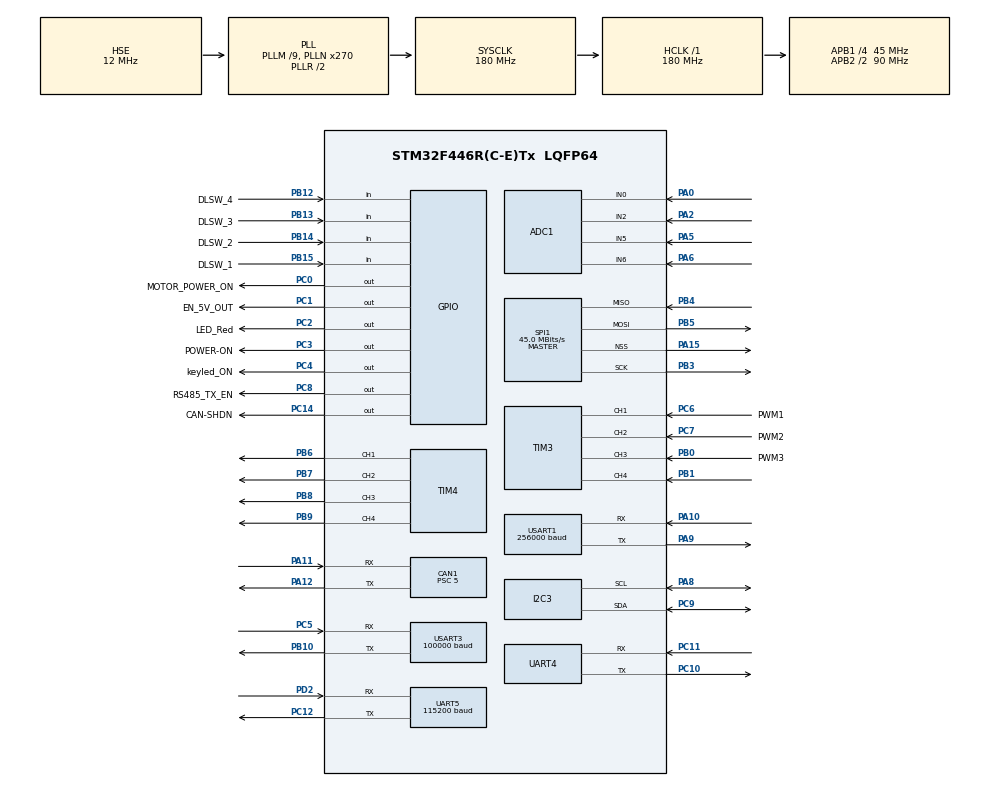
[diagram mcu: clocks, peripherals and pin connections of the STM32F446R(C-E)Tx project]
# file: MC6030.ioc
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ADC1.Channel-0\#ChannelRegularConversion=ADC_CHANNEL_2
ADC1.Channel-1\#ChannelRegularConversion=ADC_CHANNEL_5
ADC1.Channel-2\#ChannelRegularConversion=ADC_CHANNEL_6
ADC1.Channel-3\#ChannelRegularConversion=ADC_CHANNEL_0
ADC1.ContinuousConvMode=ENABLE
ADC1.DMAContinuousRequests=ENABLE
ADC1.NbrOfConversion=4
ADC1.NbrOfConversionFlag=1
ADC1.Rank-0\#ChannelRegularConversion=1
ADC1.Rank-1\#ChannelRegularConversion=2
ADC1.Rank-2\#ChannelRegularConversion=3
ADC1.Rank-3\#ChannelRegularConversion=4
ADC1.SamplingTime-0\#ChannelRegularConversion=ADC_SAMPLETIME_3CYCLES
ADC1.SamplingTime-1\#ChannelRegularConversion=ADC_SAMPLETIME_3CYCLES
ADC1.SamplingTime-2\#ChannelRegularConversion=ADC_SAMPLETIME_3CYCLES
ADC1.SamplingTime-3\#ChannelRegularConversion=ADC_SAMPLETIME_3CYCLES
ADC1.ScanConvMode=ENABLE
ADC1.master=1
CAN1.BS1=CAN_BS1_6TQ
CAN1.BS2=CAN_BS2_2TQ
CAN1.CalculateTimeQuantum=111.11111111111111
CAN1.Prescaler=5
CAN1.SJW=CAN_SJW_1TQ
Dma.ADC1.0.Direction=DMA_PERIPH_TO_MEMORY
Dma.ADC1.0.FIFOMode=DMA_FIFOMODE_DISABLE
Dma.ADC1.0.Instance=DMA2_Stream0
Dma.ADC1.0.MemDataAlignment=DMA_MDATAALIGN_WORD
Dma.ADC1.0.MemInc=DMA_MINC_ENABLE
Dma.ADC1.0.Mode=DMA_CIRCULAR
Dma.ADC1.0.PeriphDataAlignment=DMA_PDATAALIGN_WORD
Dma.ADC1.0.PeriphInc=DMA_PINC_DISABLE
Dma.ADC1.0.Priority=DMA_PRIORITY_LOW
Dma.Request0=ADC1
Dma.Request1=USART3_RX
Dma.USART3_RX.1.Direction=DMA_PERIPH_TO_MEMORY
Dma.USART3_RX.1.FIFOMode=DMA_FIFOMODE_DISABLE
Dma.USART3_RX.1.Instance=DMA1_Stream1
Dma.USART3_RX.1.MemDataAlignment=DMA_MDATAALIGN_BYTE
Dma.USART3_RX.1.MemInc=DMA_MINC_ENABLE
Dma.USART3_RX.1.Mode=DMA_CIRCULAR
Dma.USART3_RX.1.PeriphDataAlignment=DMA_PDATAALIGN_BYTE
Dma.USART3_RX.1.PeriphInc=DMA_PINC_DISABLE
Dma.USART3_RX.1.Priority=DMA_PRIORITY_LOW
I2C3.I2C_Mode=I2C_Standard
Mcu.Family=STM32F4
Mcu.Name=STM32F446R(C-E)Tx
Mcu.Package=LQFP64
NVIC.DMA1_Stream1_IRQn=true\:3\:0\:true\:false\:true\:false\:true
NVIC.DMA2_Stream0_IRQn=true\:2\:0\:true\:false\:true\:false\:true
NVIC.PriorityGroup=NVIC_PRIORITYGROUP_4
NVIC.TIM8_TRG_COM_TIM14_IRQn=true\:0\:0\:true\:false\:true\:true\:true
NVIC.USART3_IRQn=true\:0\:0\:false\:false\:true\:true\:true
PA0-WKUP.Signal=ADCx_IN0
PA10.Mode=Asynchronous
PA10.Signal=USART1_RX
PA11.Mode=Master
PA11.Signal=CAN1_RX
PA12.Mode=Master
PA12.Signal=CAN1_TX
PA15.Mode=NSS_Signal_Hard_Output
PA15.Signal=SPI1_NSS
PA2.Signal=ADCx_IN2
PA5.Signal=ADCx_IN5
PA6.Signal=ADCx_IN6
PA8.Mode=I2C
PA8.Signal=I2C3_SCL
PA9.Mode=Asynchronous
PA9.Signal=USART1_TX
PB0.GPIO_Label=PWM3
PB0.GPIO_PuPd=GPIO_PULLUP
PB0.Signal=S_TIM3_CH3
PB1.GPIO_PuPd=GPIO_PULLUP
PB1.Signal=S_TIM3_CH4
PB10.Mode=Asynchronous
PB10.Signal=USART3_TX
PB12.GPIO_Label=DLSW_4
PB12.GPIO_PuPd=GPIO_PULLUP
PB12.Signal=GPIO_Input
PB13.GPIO_Label=DLSW_3
PB13.GPIO_PuPd=GPIO_PULLUP
PB13.Signal=GPIO_Input
PB14.GPIO_Label=DLSW_2
PB14.GPIO_PuPd=GPIO_PULLUP
PB14.Signal=GPIO_Input
PB15.GPIO_Label=DLSW_1
PB15.GPIO_PuPd=GPIO_PULLUP
PB15.Signal=GPIO_Input
PB3.Mode=Full_Duplex_Master
PB3.Signal=SPI1_SCK
PB4.Mode=Full_Duplex_Master
PB4.Signal=SPI1_MISO
PB5.Mode=Full_Duplex_Master
PB5.Signal=SPI1_MOSI
PB6.Signal=S_TIM4_CH1
PB7.Signal=S_TIM4_CH2
PB8.Signal=S_TIM4_CH3
PB9.Signal=S_TIM4_CH4
PC0.GPIO_Label=MOTOR_POWER_ON
PC0.PinState=GPIO_PIN_SET
PC0.Signal=GPIO_Output
PC1.GPIO_Label=EN_5V_OUT
PC1.PinState=GPIO_PIN_SET
PC1.Signal=GPIO_Output
PC10.Mode=Asynchronous
PC10.Signal=UART4_TX
PC11.Mode=Asynchronous
PC11.Signal=UART4_RX
PC12.Mode=Asynchronous
PC12.Signal=UART5_TX
PC14-OSC32_IN.GPIO_Label=CAN-SHDN
PC14-OSC32_IN.Signal=GPIO_Output
PC2.GPIO_Label=LED_Red
PC2.PinState=GPIO_PIN_SET
PC2.Signal=GPIO_Output
PC3.GPIO_Label=POWER-ON
PC3.Signal=GPIO_Output
PC4.GPIO_Label=keyled_ON
PC4.Signal=GPIO_Output
PC5.Mode=Asynchronous
PC5.Signal=USART3_RX
PC6.GPIO_Label=PWM1
PC6.GPIO_PuPd=GPIO_PULLUP
PC6.Signal=S_TIM3_CH1
PC7.GPIO_Label=PWM2
PC7.GPIO_PuPd=GPIO_PULLUP
PC7.Signal=S_TIM3_CH2
PC8.GPIO_Label=RS485_TX_EN
PC8.GPIO_PuPd=GPIO_PULLDOWN
PC8.Signal=GPIO_Output
PC9.Mode=I2C
PC9.Signal=I2C3_SDA
PD2.Mode=Asynchronous
PD2.Signal=UART5_RX
PH0-OSC_IN.Mode=HSE-External-Oscillator
PH0-OSC_IN.Signal=RCC_OSC_IN
PH1-OSC_OUT.Mode=HSE-External-Oscillator
PH1-OSC_OUT.Signal=RCC_OSC_OUT
ProjectManager.HeapSize=0x200
ProjectManager.StackSize=0x400
ProjectManager.TargetToolchain=EWARM V8.32
RCC.AHBFreq_Value=180000000
RCC.APB1CLKDivider=RCC_HCLK_DIV4
RCC.APB1Freq_Value=45000000
RCC.APB1TimFreq_Value=90000000
RCC.APB2CLKDivider=RCC_HCLK_DIV2
RCC.APB2Freq_Value=90000000
RCC.APB2TimFreq_Value=180000000
RCC.CortexFreq_Value=180000000
RCC.HCLKFreq_Value=180000000
RCC.HSE_VALUE=12000000
RCC.PLLM=9
RCC.PLLN=270
RCC.PLLP=RCC_PLLP_DIV4
RCC.PLLSourceVirtual=RCC_PLLSOURCE_HSE
RCC.SYSCLKFreq_VALUE=180000000
RCC.SYSCLKSource=RCC_SYSCLKSOURCE_PLLRCLK
RCC.USBFreq_Value=180000000
RCC.VCOOutputFreq_Value=360000000
SH.ADCx_IN0.0=ADC1_IN0,IN0
SH.ADCx_IN2.0=ADC1_IN2,IN2
SH.ADCx_IN5.0=ADC1_IN5,IN5
SH.ADCx_IN6.0=ADC1_IN6,IN6
SH.S_TIM3_CH1.0=TIM3_CH1,Input_Capture1_from_TI1
SH.S_TIM3_CH2.0=TIM3_CH2,Input_Capture2_from_TI2
SH.S_TIM3_CH3.0=TIM3_CH3,Input_Capture3_from_TI3
SH.S_TIM3_CH4.0=TIM3_CH4,Input_Capture4_from_TI4
SH.S_TIM4_CH1.0=TIM4_CH1,PWM Generation1 CH1
SH.S_TIM4_CH2.0=TIM4_CH2,PWM Generation2 CH2
SH.S_TIM4_CH3.0=TIM4_CH3,PWM Generation3 CH3
SH.S_TIM4_CH4.0=TIM4_CH4,PWM Generation4 CH4
SPI1.BaudRatePrescaler=SPI_BAUDRATEPRESCALER_2
SPI1.CalculateBaudRate=45.0 MBits/s
SPI1.Direction=SPI_DIRECTION_2LINES
SPI1.Mode=SPI_MODE_MASTER
SPI1.TIMode=SPI_TIMODE_DISABLE
SPI1.VirtualNSS=VM_NSSHARD
SPI1.VirtualType=VM_MASTER
TIM14.Period=1000
TIM14.Prescaler=90
TIM3.Channel-Input_Capture1_from_TI1=TIM_CHANNEL_1
TIM3.Channel-Input_Capture2_from_TI2=TIM_CHANNEL_2
TIM3.Channel-Input_Capture3_from_TI3=TIM_CHANNEL_3
TIM3.Channel-Input_Capture4_from_TI4=TIM_CHANNEL_4
TIM4.Channel-PWM\ Generation1\ CH1=TIM_CHANNEL_1
TIM4.Channel-PWM\ Generation2\ CH2=TIM_CHANNEL_2
TIM4.Channel-PWM\ Generation3\ CH3=TIM_CHANNEL_3
TIM4.Channel-PWM\ Generation4\ CH4=TIM_CHANNEL_4
UART4.VirtualMode=Asynchronous
UART5.BaudRate=115200
UART5.VirtualMode=Asynchronous
USART1.BaudRate=256000
USART1.VirtualMode=VM_ASYNC
USART3.BaudRate=100000
USART3.Mode=MODE_RX
USART3.Parity=PARITY_EVEN
USART3.StopBits=STOPBITS_2
USART3.VirtualMode=VM_ASYNC
USART3.WordLength=WORDLENGTH_9B
VP_TIM14_VS_ClockSourceINT.Mode=Enable_Timer
board=custom

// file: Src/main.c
/* USER CODE BEGIN Header */
/**
  ******************************************************************************
  * @file           : main.c
  * @brief          : Main program body
  ******************************************************************************
  * @attention
  *
  * <h2><center>&copy; Copyright (c) 2020 STMicroelectronics.
  * All rights reserved.</center></h2>
  *
  * This software component is licensed by ST under BSD 3-Clause license,
  * the "License"; You may not use this file except in compliance with the
  * License. You may obtain a copy of the License at:
  *                        opensource.org/licenses/BSD-3-Clause
  *
  ******************************************************************************
  */
/* USER CODE END Header */

#include "main.h"

ADC_HandleTypeDef hadc1;
DMA_HandleTypeDef hdma_adc1;

CAN_HandleTypeDef hcan1;

I2C_HandleTypeDef hi2c3;

SPI_HandleTypeDef hspi1;

TIM_HandleTypeDef htim3;
TIM_HandleTypeDef htim4;
TIM_HandleTypeDef htim14;

UART_HandleTypeDef huart4;
UART_HandleTypeDef huart5;
UART_HandleTypeDef huart1;
UART_HandleTypeDef huart3;
DMA_HandleTypeDef hdma_usart3_rx;

/* USER CODE BEGIN PV */

uint8_t I2C3_ReceiveBuffer[2] = {0};
uint8_t I2C3_Reg_Id[1] = {0x75};

uint8_t I2C3_WriteBuffer[8] = {0};

uint8_t RX_Length = 20;

//uint8_t USART1MESSAGE[RX_Length] = {0};
uint8_t USART3MESSAGE[20] = {0};
uint8_t USART_COUNTER = 0;
uint8_t END_STA = 0;
uint8_t TempChar = 0;
uint8_t k=0;
uint8_t Uart3_receive_buf[50];
extern uint32_t tim_1ms_count;
extern uint8_t RX_databuf[26];
extern uint32_t ADC_Value[40];

/* USER CODE END PV */

void SystemClock_Config(void);
static void MX_GPIO_Init(void);
static void MX_DMA_Init(void);
static void MX_ADC1_Init(void);
static void MX_CAN1_Init(void);
static void MX_UART4_Init(void);
static void MX_USART1_UART_Init(void);
static void MX_UART5_Init(void);
static void MX_SPI1_Init(void);
static void MX_TIM3_Init(void);
static void MX_TIM4_Init(void);
static void MX_I2C3_Init(void);
static void MX_USART3_UART_Init(void);
static void MX_TIM14_Init(void);
/* USER CODE BEGIN PFP */
void ICM_20608_identity_verify(void);
/* USER CODE END PFP */

int main(void)
{

  /* MCU Configuration--------------------------------------------------------*/

  /* Reset of all peripherals, Initializes the Flash interface and the Systick. */
  HAL_Init();

  /* Configure the system clock */
  SystemClock_Config();

  /* Initialize all configured peripherals */
  MX_GPIO_Init();
  MX_DMA_Init();
  MX_ADC1_Init();
  MX_CAN1_Init();
  MX_UART4_Init();
  MX_USART1_UART_Init();
  MX_UART5_Init();
  MX_SPI1_Init();
  MX_TIM3_Init();
  MX_TIM4_Init();
  MX_I2C3_Init();
  MX_USART3_UART_Init();
  MX_TIM14_Init();
  /* USER CODE BEGIN 2 */

  HAL_ADC_Start_DMA(&hadc1, (uint32_t*)&ADC_Value, 40);

  HAL_CAN_Start(&hcan1);

  HAL_TIM_Base_MspInit(&htim14);
  HAL_TIM_Base_Start_IT(&htim14);

  HAL_UART_Receive_DMA(&huart3, Uart3_receive_buf, 25);
  HAL_Delay(2000);
  /* USER CODE END 2 */

  /* Infinite loop */
  while (1)
  {

    /* USER CODE BEGIN 3 */

    if(tim_1ms_count > 10)
    {
      tim_1ms_count=0;
      printf("\r\n***** This is a demo code powered by GYEMS ******\r\n\r\n");
      potentiometer_Control();
      printf("\r\n");

    }
    //printf("\r\n");
    //HAL_Delay(500);
  }
  /* USER CODE END 3 */
}

void SystemClock_Config(void)
{
  RCC_OscInitTypeDef RCC_OscInitStruct = {0};
  RCC_ClkInitTypeDef RCC_ClkInitStruct = {0};

  /** Configure the main internal regulator output voltage
  */
  __HAL_RCC_PWR_CLK_ENABLE();
  __HAL_PWR_VOLTAGESCALING_CONFIG(PWR_REGULATOR_VOLTAGE_SCALE1);
  /** Initializes the CPU, AHB and APB busses clocks
  */
  RCC_OscInitStruct.OscillatorType = RCC_OSCILLATORTYPE_HSE;
  RCC_OscInitStruct.HSEState = RCC_HSE_ON;
  RCC_OscInitStruct.PLL.PLLState = RCC_PLL_ON;
  RCC_OscInitStruct.PLL.PLLSource = RCC_PLLSOURCE_HSE;
  RCC_OscInitStruct.PLL.PLLM = 9;
  RCC_OscInitStruct.PLL.PLLN = 270;
  RCC_OscInitStruct.PLL.PLLP = RCC_PLLP_DIV4;
  RCC_OscInitStruct.PLL.PLLQ = 2;
  RCC_OscInitStruct.PLL.PLLR = 2;
  if (HAL_RCC_OscConfig(&RCC_OscInitStruct) != HAL_OK)
  {
    Error_Handler();
  }
  /** Activate the Over-Drive mode
  */
  if (HAL_PWREx_EnableOverDrive() != HAL_OK)
  {
    Error_Handler();
  }
  /** Initializes the CPU, AHB and APB busses clocks
  */
  RCC_ClkInitStruct.ClockType = RCC_CLOCKTYPE_HCLK|RCC_CLOCKTYPE_SYSCLK
                              |RCC_CLOCKTYPE_PCLK1|RCC_CLOCKTYPE_PCLK2;
  RCC_ClkInitStruct.SYSCLKSource = RCC_SYSCLKSOURCE_PLLRCLK;
  RCC_ClkInitStruct.AHBCLKDivider = RCC_SYSCLK_DIV1;
  RCC_ClkInitStruct.APB1CLKDivider = RCC_HCLK_DIV4;
  RCC_ClkInitStruct.APB2CLKDivider = RCC_HCLK_DIV2;

  if (HAL_RCC_ClockConfig(&RCC_ClkInitStruct, FLASH_LATENCY_5) != HAL_OK)
  {
    Error_Handler();
  }
}

static void MX_ADC1_Init(void)
{

  ADC_ChannelConfTypeDef sConfig = {0};

  /** Configure the global features of the ADC (Clock, Resolution, Data Alignment and number of conversion)
  */
  hadc1.Instance = ADC1;
  hadc1.Init.ClockPrescaler = ADC_CLOCK_SYNC_PCLK_DIV4;
  hadc1.Init.Resolution = ADC_RESOLUTION_12B;
  hadc1.Init.ScanConvMode = ENABLE;
  hadc1.Init.ContinuousConvMode = ENABLE;
  hadc1.Init.DiscontinuousConvMode = DISABLE;
  hadc1.Init.ExternalTrigConvEdge = ADC_EXTERNALTRIGCONVEDGE_NONE;
  hadc1.Init.ExternalTrigConv = ADC_SOFTWARE_START;
  hadc1.Init.DataAlign = ADC_DATAALIGN_RIGHT;
  hadc1.Init.NbrOfConversion = 4;
  hadc1.Init.DMAContinuousRequests = ENABLE;
  hadc1.Init.EOCSelection = ADC_EOC_SINGLE_CONV;
  if (HAL_ADC_Init(&hadc1) != HAL_OK)
  {
    Error_Handler();
  }
  /** Configure for the selected ADC regular channel its corresponding rank in the sequencer and its sample time.
  */
  sConfig.Channel = ADC_CHANNEL_2;
  sConfig.Rank = 1;
  sConfig.SamplingTime = ADC_SAMPLETIME_3CYCLES;
  if (HAL_ADC_ConfigChannel(&hadc1, &sConfig) != HAL_OK)
  {
    Error_Handler();
  }
  /** Configure for the selected ADC regular channel its corresponding rank in the sequencer and its sample time.
  */
  sConfig.Channel = ADC_CHANNEL_5;
  sConfig.Rank = 2;
  if (HAL_ADC_ConfigChannel(&hadc1, &sConfig) != HAL_OK)
  {
    Error_Handler();
  }
  /** Configure for the selected ADC regular channel its corresponding rank in the sequencer and its sample time.
  */
  sConfig.Channel = ADC_CHANNEL_6;
  sConfig.Rank = 3;
  if (HAL_ADC_ConfigChannel(&hadc1, &sConfig) != HAL_OK)
  {
    Error_Handler();
  }
  /** Configure for the selected ADC regular channel its corresponding rank in the sequencer and its sample time.
  */
  sConfig.Channel = ADC_CHANNEL_0;
  sConfig.Rank = 4;
  if (HAL_ADC_ConfigChannel(&hadc1, &sConfig) != HAL_OK)
  {
    Error_Handler();
  }

}

static void MX_CAN1_Init(void)
{

  hcan1.Instance = CAN1;
  hcan1.Init.Prescaler = 5;
  hcan1.Init.Mode = CAN_MODE_NORMAL;
  hcan1.Init.SyncJumpWidth = CAN_SJW_1TQ;
  hcan1.Init.TimeSeg1 = CAN_BS1_6TQ;
  hcan1.Init.TimeSeg2 = CAN_BS2_2TQ;
  hcan1.Init.TimeTriggeredMode = DISABLE;
  hcan1.Init.AutoBusOff = DISABLE;
  hcan1.Init.AutoWakeUp = DISABLE;
  hcan1.Init.AutoRetransmission = DISABLE;
  hcan1.Init.ReceiveFifoLocked = DISABLE;
  hcan1.Init.TransmitFifoPriority = DISABLE;
  if (HAL_CAN_Init(&hcan1) != HAL_OK)
  {
    Error_Handler();
  }

}

static void MX_I2C3_Init(void)
{

  hi2c3.Instance = I2C3;
  hi2c3.Init.ClockSpeed = 100000;
  hi2c3.Init.DutyCycle = I2C_DUTYCYCLE_2;
  hi2c3.Init.OwnAddress1 = 0;
  hi2c3.Init.AddressingMode = I2C_ADDRESSINGMODE_7BIT;
  hi2c3.Init.DualAddressMode = I2C_DUALADDRESS_DISABLE;
  hi2c3.Init.OwnAddress2 = 0;
  hi2c3.Init.GeneralCallMode = I2C_GENERALCALL_DISABLE;
  hi2c3.Init.NoStretchMode = I2C_NOSTRETCH_DISABLE;
  if (HAL_I2C_Init(&hi2c3) != HAL_OK)
  {
    Error_Handler();
  }

}

static void MX_SPI1_Init(void)
{

  /* SPI1 parameter configuration*/
  hspi1.Instance = SPI1;
  hspi1.Init.Mode = SPI_MODE_MASTER;
  hspi1.Init.Direction = SPI_DIRECTION_2LINES;
  hspi1.Init.DataSize = SPI_DATASIZE_8BIT;
  hspi1.Init.CLKPolarity = SPI_POLARITY_LOW;
  hspi1.Init.CLKPhase = SPI_PHASE_1EDGE;
  hspi1.Init.NSS = SPI_NSS_HARD_OUTPUT;
  hspi1.Init.BaudRatePrescaler = SPI_BAUDRATEPRESCALER_2;
  hspi1.Init.FirstBit = SPI_FIRSTBIT_MSB;
  hspi1.Init.TIMode = SPI_TIMODE_DISABLE;
  hspi1.Init.CRCCalculation = SPI_CRCCALCULATION_DISABLE;
  hspi1.Init.CRCPolynomial = 10;
  if (HAL_SPI_Init(&hspi1) != HAL_OK)
  {
    Error_Handler();
  }

}

static void MX_TIM3_Init(void)
{

  TIM_MasterConfigTypeDef sMasterConfig = {0};
  TIM_IC_InitTypeDef sConfigIC = {0};

  htim3.Instance = TIM3;
  htim3.Init.Prescaler = 0;
  htim3.Init.CounterMode = TIM_COUNTERMODE_UP;
  htim3.Init.Period = 0;
  htim3.Init.ClockDivision = TIM_CLOCKDIVISION_DIV1;
  htim3.Init.AutoReloadPreload = TIM_AUTORELOAD_PRELOAD_DISABLE;
  if (HAL_TIM_IC_Init(&htim3) != HAL_OK)
  {
    Error_Handler();
  }
  sMasterConfig.MasterOutputTrigger = TIM_TRGO_RESET;
  sMasterConfig.MasterSlaveMode = TIM_MASTERSLAVEMODE_DISABLE;
  if (HAL_TIMEx_MasterConfigSynchronization(&htim3, &sMasterConfig) != HAL_OK)
  {
    Error_Handler();
  }
  sConfigIC.ICPolarity = TIM_INPUTCHANNELPOLARITY_RISING;
  sConfigIC.ICSelection = TIM_ICSELECTION_DIRECTTI;
  sConfigIC.ICPrescaler = TIM_ICPSC_DIV1;
  sConfigIC.ICFilter = 0;
  if (HAL_TIM_IC_ConfigChannel(&htim3, &sConfigIC, TIM_CHANNEL_1) != HAL_OK)
  {
    Error_Handler();
  }
  if (HAL_TIM_IC_ConfigChannel(&htim3, &sConfigIC, TIM_CHANNEL_2) != HAL_OK)
  {
    Error_Handler();
  }
  if (HAL_TIM_IC_ConfigChannel(&htim3, &sConfigIC, TIM_CHANNEL_3) != HAL_OK)
  {
    Error_Handler();
  }
  if (HAL_TIM_IC_ConfigChannel(&htim3, &sConfigIC, TIM_CHANNEL_4) != HAL_OK)
  {
    Error_Handler();
  }

}

static void MX_TIM4_Init(void)
{

  TIM_MasterConfigTypeDef sMasterConfig = {0};
  TIM_OC_InitTypeDef sConfigOC = {0};

  htim4.Instance = TIM4;
  htim4.Init.Prescaler = 0;
  htim4.Init.CounterMode = TIM_COUNTERMODE_UP;
  htim4.Init.Period = 0;
  htim4.Init.ClockDivision = TIM_CLOCKDIVISION_DIV1;
  htim4.Init.AutoReloadPreload = TIM_AUTORELOAD_PRELOAD_DISABLE;
  if (HAL_TIM_PWM_Init(&htim4) != HAL_OK)
  {
    Error_Handler();
  }
  sMasterConfig.MasterOutputTrigger = TIM_TRGO_RESET;
  sMasterConfig.MasterSlaveMode = TIM_MASTERSLAVEMODE_DISABLE;
  if (HAL_TIMEx_MasterConfigSynchronization(&htim4, &sMasterConfig) != HAL_OK)
  {
    Error_Handler();
  }
  sConfigOC.OCMode = TIM_OCMODE_PWM1;
  sConfigOC.Pulse = 0;
  sConfigOC.OCPolarity = TIM_OCPOLARITY_HIGH;
  sConfigOC.OCFastMode = TIM_OCFAST_DISABLE;
  if (HAL_TIM_PWM_ConfigChannel(&htim4, &sConfigOC, TIM_CHANNEL_1) != HAL_OK)
  {
    Error_Handler();
  }
  if (HAL_TIM_PWM_ConfigChannel(&htim4, &sConfigOC, TIM_CHANNEL_2) != HAL_OK)
  {
    Error_Handler();
  }
  if (HAL_TIM_PWM_ConfigChannel(&htim4, &sConfigOC, TIM_CHANNEL_3) != HAL_OK)
  {
    Error_Handler();
  }
  if (HAL_TIM_PWM_ConfigChannel(&htim4, &sConfigOC, TIM_CHANNEL_4) != HAL_OK)
  {
    Error_Handler();
  }
  HAL_TIM_MspPostInit(&htim4);

}

static void MX_TIM14_Init(void)
{

  htim14.Instance = TIM14;
  htim14.Init.Prescaler = 90;
  htim14.Init.CounterMode = TIM_COUNTERMODE_UP;
  htim14.Init.Period = 1000;
  htim14.Init.ClockDivision = TIM_CLOCKDIVISION_DIV1;
  htim14.Init.AutoReloadPreload = TIM_AUTORELOAD_PRELOAD_DISABLE;
  if (HAL_TIM_Base_Init(&htim14) != HAL_OK)
  {
    Error_Handler();
  }

}

static void MX_UART4_Init(void)
{

  huart4.Instance = UART4;
  huart4.Init.BaudRate = 115200;
  huart4.Init.WordLength = UART_WORDLENGTH_8B;
  huart4.Init.StopBits = UART_STOPBITS_1;
  huart4.Init.Parity = UART_PARITY_NONE;
  huart4.Init.Mode = UART_MODE_TX_RX;
  huart4.Init.HwFlowCtl = UART_HWCONTROL_NONE;
  huart4.Init.OverSampling = UART_OVERSAMPLING_16;
  if (HAL_UART_Init(&huart4) != HAL_OK)
  {
    Error_Handler();
  }

}

static void MX_UART5_Init(void)
{

  huart5.Instance = UART5;
  huart5.Init.BaudRate = 115200;
  huart5.Init.WordLength = UART_WORDLENGTH_8B;
  huart5.Init.StopBits = UART_STOPBITS_1;
  huart5.Init.Parity = UART_PARITY_NONE;
  huart5.Init.Mode = UART_MODE_TX_RX;
  huart5.Init.HwFlowCtl = UART_HWCONTROL_NONE;
  huart5.Init.OverSampling = UART_OVERSAMPLING_16;
  if (HAL_UART_Init(&huart5) != HAL_OK)
  {
    Error_Handler();
  }

}

static void MX_USART1_UART_Init(void)
{

  huart1.Instance = USART1;
  huart1.Init.BaudRate = 256000;
  huart1.Init.WordLength = UART_WORDLENGTH_8B;
  huart1.Init.StopBits = UART_STOPBITS_1;
  huart1.Init.Parity = UART_PARITY_NONE;
  huart1.Init.Mode = UART_MODE_TX_RX;
  huart1.Init.HwFlowCtl = UART_HWCONTROL_NONE;
  huart1.Init.OverSampling = UART_OVERSAMPLING_16;
  if (HAL_UART_Init(&huart1) != HAL_OK)
  {
    Error_Handler();
  }

}

static void MX_USART3_UART_Init(void)
{

  huart3.Instance = USART3;
  huart3.Init.BaudRate = 100000;
  huart3.Init.WordLength = UART_WORDLENGTH_9B;
  huart3.Init.StopBits = UART_STOPBITS_2;
  huart3.Init.Parity = UART_PARITY_EVEN;
  huart3.Init.Mode = UART_MODE_RX;
  huart3.Init.HwFlowCtl = UART_HWCONTROL_NONE;
  huart3.Init.OverSampling = UART_OVERSAMPLING_16;
  if (HAL_UART_Init(&huart3) != HAL_OK)
  {
    Error_Handler();
  }

}

static void MX_DMA_Init(void)
{
  /* DMA controller clock enable */
  __HAL_RCC_DMA2_CLK_ENABLE();
  __HAL_RCC_DMA1_CLK_ENABLE();

  /* DMA interrupt init */
  /* DMA1_Stream1_IRQn interrupt configuration */
  HAL_NVIC_SetPriority(DMA1_Stream1_IRQn, 3, 0);
  HAL_NVIC_EnableIRQ(DMA1_Stream1_IRQn);
  /* DMA2_Stream0_IRQn interrupt configuration */
  HAL_NVIC_SetPriority(DMA2_Stream0_IRQn, 2, 0);
  HAL_NVIC_EnableIRQ(DMA2_Stream0_IRQn);

}

static void MX_GPIO_Init(void)
{
  GPIO_InitTypeDef GPIO_InitStruct = {0};

  /* GPIO Ports Clock Enable */
  __HAL_RCC_GPIOC_CLK_ENABLE();
  __HAL_RCC_GPIOH_CLK_ENABLE();
  __HAL_RCC_GPIOA_CLK_ENABLE();
  __HAL_RCC_GPIOB_CLK_ENABLE();
  __HAL_RCC_GPIOD_CLK_ENABLE();

  /*Configure GPIO pin Output Level */
  HAL_GPIO_WritePin(GPIOC, CAN_SHDN_Pin|POWER_ON_Pin|keyled_ON_Pin|RS485_TX_EN_Pin, GPIO_PIN_RESET);

  /*Configure GPIO pin Output Level */
  HAL_GPIO_WritePin(GPIOC, MOTOR_POWER_ON_Pin|EN_5V_OUT_Pin|LED_Red_Pin, GPIO_PIN_SET);

  /*Configure GPIO pins : CAN_SHDN_Pin MOTOR_POWER_ON_Pin EN_5V_OUT_Pin LED_Red_Pin
                           POWER_ON_Pin keyled_ON_Pin */
  GPIO_InitStruct.Pin = CAN_SHDN_Pin|MOTOR_POWER_ON_Pin|EN_5V_OUT_Pin|LED_Red_Pin
                          |POWER_ON_Pin|keyled_ON_Pin;
  GPIO_InitStruct.Mode = GPIO_MODE_OUTPUT_PP;
  GPIO_InitStruct.Pull = GPIO_NOPULL;
  GPIO_InitStruct.Speed = GPIO_SPEED_FREQ_LOW;
  HAL_GPIO_Init(GPIOC, &GPIO_InitStruct);

  /*Configure GPIO pins : DLSW_4_Pin DLSW_3_Pin DLSW_2_Pin DLSW_1_Pin */
  GPIO_InitStruct.Pin = DLSW_4_Pin|DLSW_3_Pin|DLSW_2_Pin|DLSW_1_Pin;
  GPIO_InitStruct.Mode = GPIO_MODE_INPUT;
  GPIO_InitStruct.Pull = GPIO_PULLUP;
  HAL_GPIO_Init(GPIOB, &GPIO_InitStruct);

  /*Configure GPIO pin : RS485_TX_EN_Pin */
  GPIO_InitStruct.Pin = RS485_TX_EN_Pin;
  GPIO_InitStruct.Mode = GPIO_MODE_OUTPUT_PP;
  GPIO_InitStruct.Pull = GPIO_PULLDOWN;
  GPIO_InitStruct.Speed = GPIO_SPEED_FREQ_LOW;
  HAL_GPIO_Init(RS485_TX_EN_GPIO_Port, &GPIO_InitStruct);

}

/* USER CODE BEGIN 4 */

void ICM_20608_identity_verify(void)
{
    HAL_I2C_Master_Transmit(&hi2c3, 0xD1, I2C3_Reg_Id, 1, 100); //read WHOAMI register
    HAL_I2C_Master_Receive(&hi2c3, 0xD1, I2C3_ReceiveBuffer, 1, 100); //The default value of the register is 0xAF
    HAL_UART_Transmit(&huart1, I2C3_ReceiveBuffer, 1, 10);
}

/* USER CODE END 4 */

void Error_Handler(void)
{
}

/************************ (C) COPYRIGHT STMicroelectronics *****END OF FILE****/
